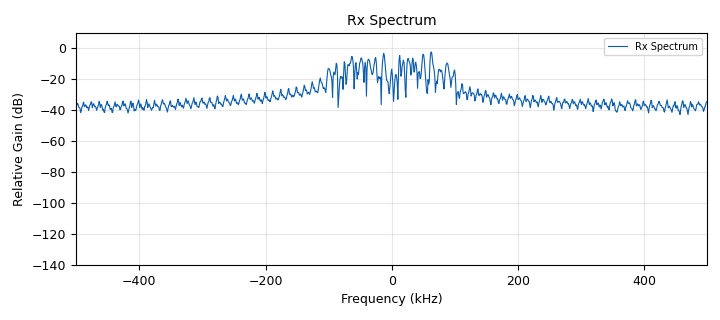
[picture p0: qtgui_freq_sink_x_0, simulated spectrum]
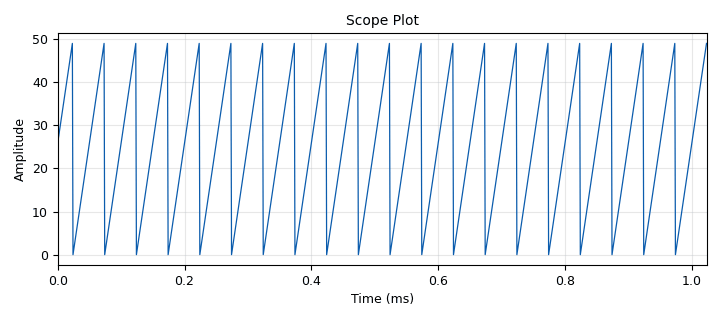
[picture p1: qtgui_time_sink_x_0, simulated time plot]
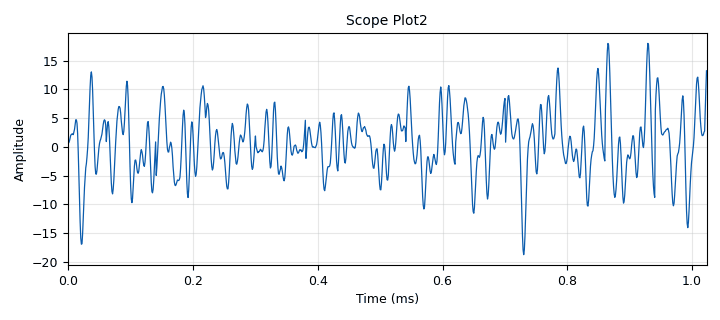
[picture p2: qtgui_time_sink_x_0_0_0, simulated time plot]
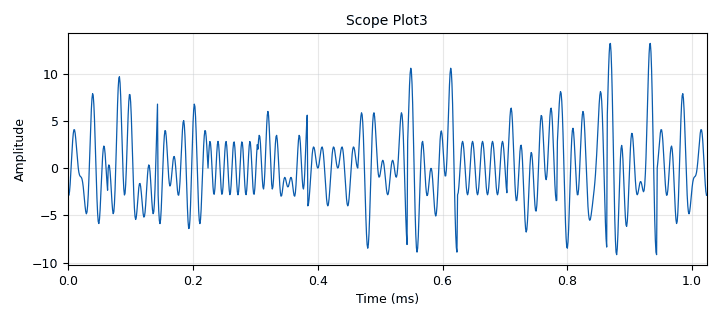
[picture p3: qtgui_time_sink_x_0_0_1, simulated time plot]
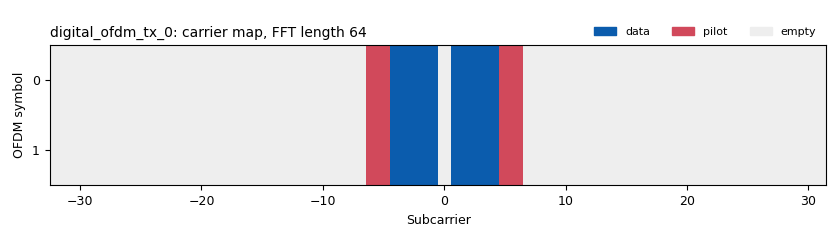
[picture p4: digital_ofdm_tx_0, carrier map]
options:
  parameters:
    category: Custom
    description: Transmit a pre-defined signal (a complex sine) as OFDM packets.
    generate_options: qt_gui
    id: ofdm_loopback_example
    output_language: python
    title: OFDM Loopback Example
  states: {}

blocks:
- name: fft_len
  id: variable
  parameters:
    value: '64'
  states: {}
- name: freq_offset
  id: variable_qtgui_range
  parameters:
    label: Frequency Offset (Multiples of Sub-carrier spacing)
    orient: Qt.Horizontal
    start: '-3'
    step: '.01'
    stop: '3'
    value: '0'
  states: {}
- name: len_tag_key
  id: variable
  parameters:
    value: '"packet_len"'
  states: {}
- name: noise_voltage
  id: variable_qtgui_range
  parameters:
    label: Noise Amplitude
    orient: Qt.Horizontal
    start: '0'
    step: '.01'
    stop: '1'
    value: '0.1'
  states: {}
- name: packet_len
  id: variable
  parameters:
    value: '50'
  states: {}
- name: samp_rate
  id: variable
  parameters:
    value: '1000000'
  states: {}
- name: blocks_complex_to_float_0
  id: blocks_complex_to_float
  parameters: {}
  states: {}
- name: blocks_complex_to_float_0_0
  id: blocks_complex_to_float
  parameters: {}
  states: {}
- name: blocks_complex_to_float_0_1
  id: blocks_complex_to_float
  parameters: {}
  states: {}
- name: blocks_stream_to_tagged_stream_0
  id: blocks_stream_to_tagged_stream
  parameters:
    len_tag_key: len_tag_key
    packet_len: packet_len
    type: byte
  states: {}
- name: blocks_tag_debug_0
  id: blocks_tag_debug
  parameters:
    display: 'False'
    name: Rx Packets
    type: byte
  states: {}
- name: blocks_throttle_0
  id: blocks_throttle
  parameters:
    samples_per_second: samp_rate
    type: complex
  states: {}
- name: blocks_uchar_to_float_0
  id: blocks_uchar_to_float
  parameters: {}
  states: {}
- name: blocks_vector_source_x_0
  id: blocks_vector_source_x
  parameters:
    repeat: 'True'
    tags: ()
    type: byte
    vector: range(packet_len)
  states: {}
- name: channels_channel_model_0
  id: channels_channel_model
  parameters:
    block_tags: 'True'
    epsilon: '1.0'
    freq_offset: freq_offset * 1.0/fft_len
    noise_voltage: noise_voltage
    seed: '0'
    taps: 1.0 + 1.0j
  states: {}
- name: digital_ofdm_rx_0
  id: digital_ofdm_rx
  parameters:
    cp_len: fft_len//4
    fft_len: fft_len
    header_mod: '"BPSK"'
    occupied_carriers: ((-4,-3,-2,-1,1,2,3,4),)
    packet_len_key: '"rx_len"'
    payload_mod: '"QPSK"'
    pilot_carriers: ((-6,-5,5,6),)
    pilot_symbols: ((-1,1,-1,1),)
    sync_word1: None
    sync_word2: None
  states: {}
- name: digital_ofdm_tx_0
  id: digital_ofdm_tx
  parameters:
    cp_len: fft_len//4
    fft_len: fft_len
    header_mod: '"BPSK"'
    occupied_carriers: ((-4,-3,-2,-1,1,2,3,4),)
    packet_len_key: len_tag_key
    payload_mod: '"QPSK"'
    pilot_carriers: ((-6,-5,5,6),)
    pilot_symbols: ((-1,1,-1,1),)
    rolloff: '0'
    sync_word1: None
    sync_word2: None
  states: {}
- name: osmosdr_sink_0
  id: osmosdr_sink
  parameters:
    args: bladerf=0,buffers=128,buflen=32768
    bb_gain0: '20'
    bw0: '6000000'
    freq0: '473000000'
    gain0: '20'
    if_gain0: '20'
    sample_rate: samp_rate
    sync: sync
    type: fc32
  states: {}
- name: osmosdr_source_0
  id: osmosdr_source
  parameters:
    args: bladerf=0,buffers=128,buflen=32768
    bb_gain0: '20'
    freq0: 473e6
    gain0: '10'
    gain_mode0: 'False'
    if_gain0: '20'
    sample_rate: samp_rate
    sync: sync
    type: fc32
  states: {}
- name: qtgui_freq_sink_x_0
  id: qtgui_freq_sink_x
  parameters:
    bw: samp_rate
    fc: '0'
    fftsize: '1024'
    label1: Rx Spectrum
    name: Rx Spectrum
    showports: 'True'
    type: complex
    wintype: firdes.WIN_BLACKMAN_hARRIS
  states: {}
- name: qtgui_time_sink_x_0
  id: qtgui_time_sink_x
  parameters:
    autoscale: 'True'
    label1: ''
    name: Scope Plot
    size: '1024'
    srate: samp_rate
    type: float
  states: {}
- name: qtgui_time_sink_x_0_0
  id: qtgui_time_sink_x
  parameters:
    autoscale: 'True'
    label1: ''
    name: Scope Plot1
    size: '1024'
    srate: samp_rate
    type: float
  states: {}
- name: qtgui_time_sink_x_0_0_0
  id: qtgui_time_sink_x
  parameters:
    autoscale: 'True'
    label1: ''
    name: Scope Plot2
    size: '1024'
    srate: samp_rate
    type: float
  states: {}
- name: qtgui_time_sink_x_0_0_1
  id: qtgui_time_sink_x
  parameters:
    autoscale: 'True'
    label1: ''
    name: Scope Plot3
    size: '1024'
    srate: samp_rate
    type: float
  states: {}

connections:
- [blocks_complex_to_float_0, '0', qtgui_time_sink_x_0_0, '0']
- [blocks_complex_to_float_0_0, '0', qtgui_time_sink_x_0_0_0, '0']
- [blocks_complex_to_float_0_1, '0', qtgui_time_sink_x_0_0_1, '0']
- [blocks_stream_to_tagged_stream_0, '0', digital_ofdm_tx_0, '0']
- [blocks_throttle_0, '0', blocks_complex_to_float_0_0, '0']
- [blocks_throttle_0, '0', digital_ofdm_rx_0, '0']
- [blocks_throttle_0, '0', qtgui_freq_sink_x_0, '0']
- [blocks_uchar_to_float_0, '0', qtgui_time_sink_x_0, '0']
- [blocks_vector_source_x_0, '0', blocks_stream_to_tagged_stream_0, '0']
- [channels_channel_model_0, '0', blocks_throttle_0, '0']
- [digital_ofdm_rx_0, '0', blocks_tag_debug_0, '0']
- [digital_ofdm_rx_0, '0', blocks_uchar_to_float_0, '0']
- [digital_ofdm_tx_0, '0', blocks_complex_to_float_0_1, '0']
- [digital_ofdm_tx_0, '0', channels_channel_model_0, '0']
- [digital_ofdm_tx_0, '0', osmosdr_sink_0, '0']
- [osmosdr_source_0, '0', blocks_complex_to_float_0, '0']

metadata:
  file_format: 1
